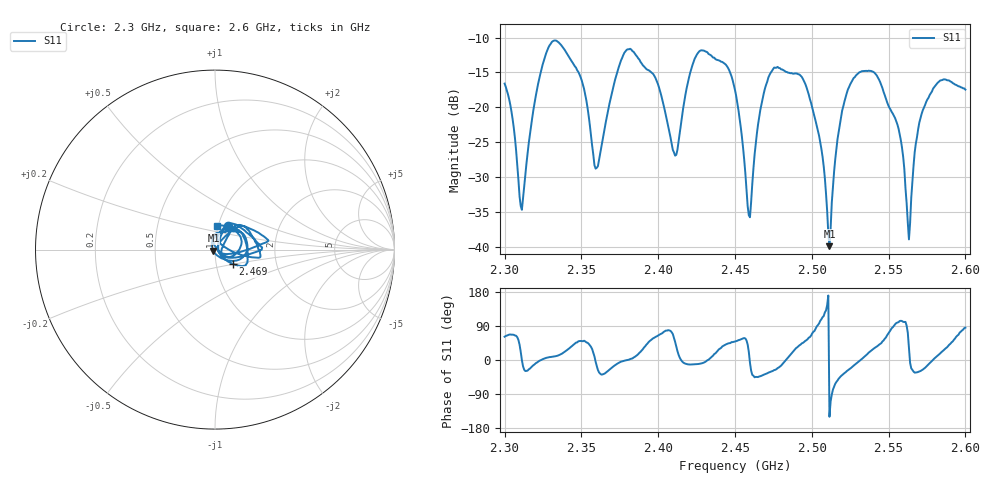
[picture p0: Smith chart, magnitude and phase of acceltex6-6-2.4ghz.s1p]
! NanoVNA-App
! Date: 2026-05-15 12:15:18
! Start: 2.3GHz Stop: 2.6GHz Points: 401
! S-Parameter data: F S11
# Hz S RI R 50
!  Frequency  S11_Real  S11_Imag
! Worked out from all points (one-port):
!   401 points, 2.3 GHz to 2.6 GHz, reference 50 ohm
!   lowest |S11| = -39.9 dB at 2.511 GHz (marker M1), VSWR 1.02, Z = 49.1 - j0.501 ohm
!   |S11| at or under -10 dB: start of sweep to end of sweep
!   S11 on the Smith chart (normalised r, x): 2.3 GHz: 1.11, +0.30; 2.469 GHz: 1.20, -0.19; 2.6 GHz: 0.99, +0.27
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2.3e9  0.0707 0.13
2.3045e9  0.0365 0.0853
2.31125e9  0.0184 -9.15e-05
2.324e9  0.1878 0.000953
2.3375e9  0.261 0.0804
2.35025e9  0.0999 0.1192
2.36e9  0.0355 -0.0101
2.375e9  0.2036 -0.0214
2.38175e9  0.2626 0.0114
2.39675e9  0.0933 0.1461
2.4125e9  0.0452 0.02
2.42e9  0.159 -0.0331
2.42675e9  0.2481 -0.0444
2.45e9  0.0877 0.1001
2.459e9  0.0157 0.00606
2.46875e9  0.0984 -0.0791
2.47625e9  0.1729 -0.0837
2.4875e9  0.1629 0.0628
2.5025e9  0.0102 0.079
2.5115e9  -0.00874 -0.0051
2.5175e9  0.0435 -0.0506
2.525e9  0.1348 -0.0563
2.5445e9  0.1124 0.1019
2.55725e9  -0.0144 0.0623
2.5625e9  0.00464 0.0142
2.56925e9  0.0595 -0.0366
2.57525e9  0.1103 -0.0286
2.6e9  0.0109 0.1335
